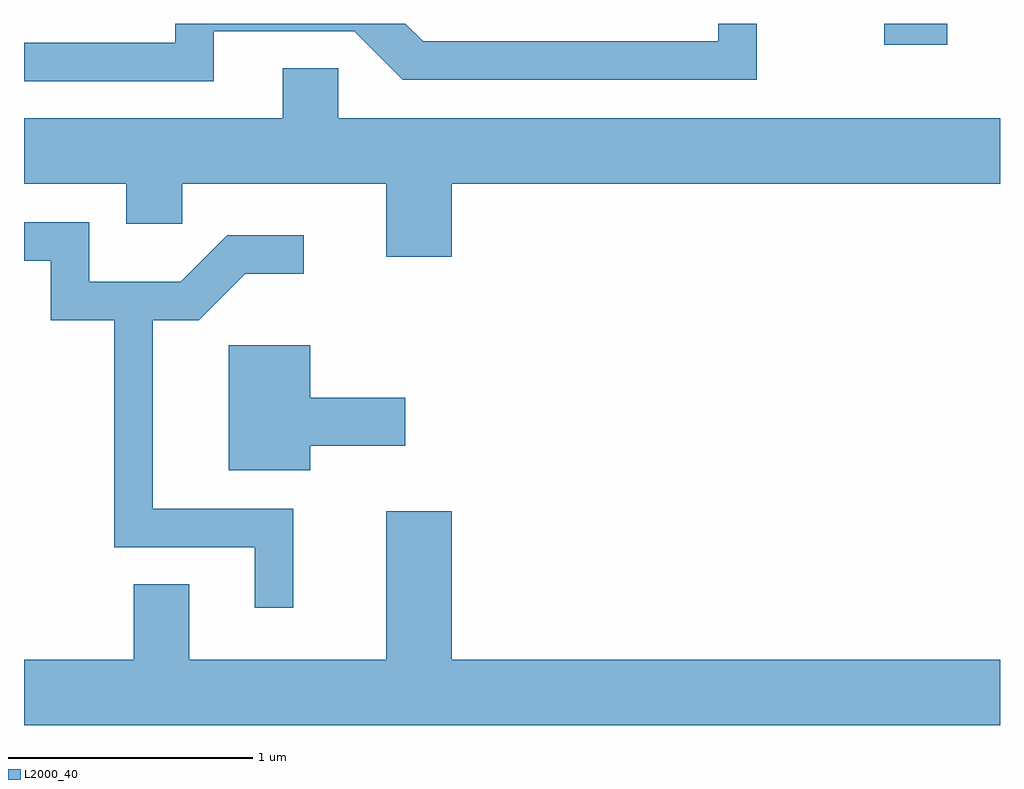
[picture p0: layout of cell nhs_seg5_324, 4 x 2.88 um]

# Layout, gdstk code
import gdstk
lib = gdstk.Library(unit=1e-6, precision=1e-09)
def R(c, l, rs):  # rectangles x0, y0, x1, y1
    for r in rs: c.add(gdstk.rectangle(r[:2], r[2:], *l))
def P(c, l, *ps):  # polygons
    for p in ps: c.add(gdstk.Polygon(p, *l))
L2000_40 = (2000, 40)

nhs_seg5_324 = lib.new_cell('nhs_seg5_324')
R(nhs_seg5_324, L2000_40, [(197.136,1503.986,197.394,1504.072)])
P(nhs_seg5_324, L2000_40, [(194.389,1504.041),(194.964,1504.041),(195.164,1503.841),(196.614,1503.841),(196.614,1504.072),(196.456,1504.072),(196.456,1503.999),(195.247,1503.999),(195.174,1504.072),(194.231,1504.072),(194.231,1503.994),(193.611,1503.994),(193.611,1503.836),(194.389,1503.836)],
  [(195.364,1503.416),(197.611,1503.416),(197.611,1503.684),(194.899,1503.684),(194.899,1503.889),(194.671,1503.889),(194.671,1503.684),(193.611,1503.684),(193.611,1503.416),(194.031,1503.416),(194.031,1503.251),(194.259,1503.251),(194.259,1503.416),(195.096,1503.416),(195.096,1503.116),(195.364,1503.116)],
  [(194.714,1502.084),(194.139,1502.084),(194.139,1502.856),(194.327,1502.856),(194.517,1503.046),(194.758,1503.046),(194.758,1503.204),(194.444,1503.204),(194.254,1503.014),(193.879,1503.014),(193.879,1503.259),(193.611,1503.259),(193.611,1503.101),(193.721,1503.101),(193.721,1502.856),(193.981,1502.856),(193.981,1501.926),(194.556,1501.926),(194.556,1501.678),(194.714,1501.678)],
  [(194.784,1502.341),(195.174,1502.341),(195.174,1502.539),(194.784,1502.539),(194.784,1502.754),(194.451,1502.754),(194.451,1502.241),(194.784,1502.241)],
  [(197.611,1501.464),(195.364,1501.464),(195.364,1502.074),(195.096,1502.074),(195.096,1501.464),(194.289,1501.464),(194.289,1501.774),(194.061,1501.774),(194.061,1501.464),(193.611,1501.464),(193.611,1501.196),(197.611,1501.196)])

lib.write_gds('nhs_seg5_324.gds')
